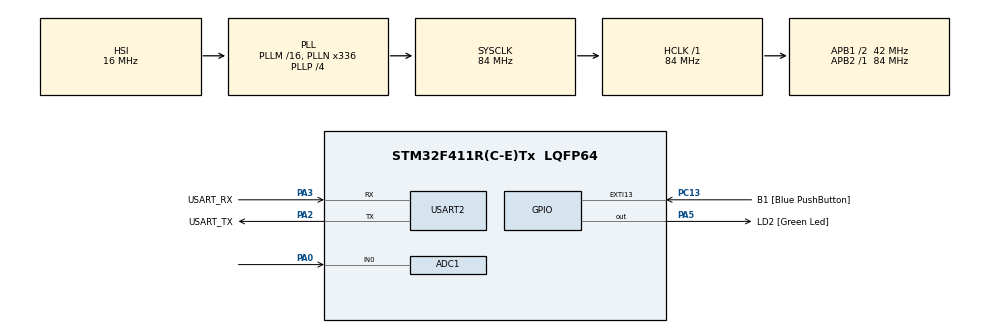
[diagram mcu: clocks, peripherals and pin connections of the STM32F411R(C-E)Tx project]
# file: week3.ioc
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ADC1.Channel-0\#ChannelRegularConversion=ADC_CHANNEL_0
ADC1.NbrOfConversionFlag=1
ADC1.Rank-0\#ChannelRegularConversion=1
ADC1.SamplingTime-0\#ChannelRegularConversion=ADC_SAMPLETIME_3CYCLES
ADC1.master=1
Mcu.Family=STM32F4
Mcu.Name=STM32F411R(C-E)Tx
Mcu.Package=LQFP64
NVIC.PriorityGroup=NVIC_PRIORITYGROUP_0
PA0-WKUP.Signal=ADCx_IN0
PA13.GPIO_Label=TMS
PA13.Mode=Serial_Wire
PA13.Signal=SYS_JTMS-SWDIO
PA14.GPIO_Label=TCK
PA14.Mode=Serial_Wire
PA14.Signal=SYS_JTCK-SWCLK
PA2.GPIO_Label=USART_TX
PA2.Mode=Asynchronous
PA2.Signal=USART2_TX
PA3.GPIO_Label=USART_RX
PA3.Mode=Asynchronous
PA3.Signal=USART2_RX
PA5.GPIO_Label=LD2 [Green Led]
PA5.Signal=GPIO_Output
PB3.GPIO_Label=SWO
PB3.Signal=SYS_JTDO-SWO
PC13-ANTI_TAMP.GPIO_Label=B1 [Blue PushButton]
PC13-ANTI_TAMP.GPIO_ModeDefaultEXTI=GPIO_MODE_IT_FALLING
PC13-ANTI_TAMP.Signal=GPXTI13
PC14-OSC32_IN.Mode=LSE-External-Oscillator
PC14-OSC32_IN.Signal=RCC_OSC32_IN
PC15-OSC32_OUT.Mode=LSE-External-Oscillator
PC15-OSC32_OUT.Signal=RCC_OSC32_OUT
PH0\ -\ OSC_IN.Mode=HSE-External-Clock-Source
PH0\ -\ OSC_IN.Signal=RCC_OSC_IN
PH1\ -\ OSC_OUT.Mode=HSE-External-Clock-Source
PH1\ -\ OSC_OUT.Signal=RCC_OSC_OUT
ProjectManager.HeapSize=0x200
ProjectManager.StackSize=0x400
ProjectManager.TargetToolchain=STM32CubeIDE
RCC.48MHZClocksFreq_Value=84000000
RCC.AHBFreq_Value=84000000
RCC.APB1CLKDivider=RCC_HCLK_DIV2
RCC.APB1Freq_Value=42000000
RCC.APB1TimFreq_Value=84000000
RCC.APB2Freq_Value=84000000
RCC.APB2TimFreq_Value=84000000
RCC.CortexFreq_Value=84000000
RCC.FLatency-AdvancedSettings=FLASH_LATENCY_2
RCC.HCLKFreq_Value=84000000
RCC.HSE_VALUE=8000000
RCC.HSI_VALUE=16000000
RCC.PLLN=336
RCC.PLLP=RCC_PLLP_DIV4
RCC.SYSCLKFreq_VALUE=84000000
RCC.SYSCLKSource=RCC_SYSCLKSOURCE_PLLCLK
RCC.VCOOutputFreq_Value=336000000
SH.ADCx_IN0.0=ADC1_IN0,IN0
USART2.VirtualMode=VM_ASYNC
VP_ADC1_TempSens_Input.Mode=IN-TempSens
board=NUCLEO-F411RE

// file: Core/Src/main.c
/* USER CODE BEGIN Header */
/**
 ******************************************************************************
 * @file           : main.c
 * @brief          : Main program body
 ******************************************************************************
 * @attention
 *
 * <h2><center>&copy; Copyright (c) 2021 STMicroelectronics.
 * All rights reserved.</center></h2>
 *
 * This software component is licensed by ST under BSD 3-Clause license,
 * the "License"; You may not use this file except in compliance with the
 * License. You may obtain a copy of the License at:
 *                        opensource.org/licenses/BSD-3-Clause
 *
 ******************************************************************************
 */
/* USER CODE END Header */
#include "main.h"

ADC_HandleTypeDef hadc1;

UART_HandleTypeDef huart2;

/* USER CODE BEGIN PV */
uint16_t adcdata[2] = { 0 };

typedef struct {
	ADC_ChannelConfTypeDef Config;
	uint16_t data;
} ADCStructure;

ADCStructure ADCChannel[3] = { 0 };
int ADCMode = 0;
float ADCOutputConverted = 0;
GPIO_PinState SwitchState[2];
/* USER CODE END PV */

void SystemClock_Config(void);
static void MX_GPIO_Init(void);
static void MX_USART2_UART_Init(void);
static void MX_ADC1_Init(void);
/* USER CODE BEGIN PFP */
void ADCPollingMethodInit();
void ADCPollingMethodUpdate();
/* USER CODE END PFP */

int main(void) {

	/* MCU Configuration--------------------------------------------------------*/

	/* Reset of all peripherals, Initializes the Flash interface and the Systick. */
	HAL_Init();

	/* Configure the system clock */
	SystemClock_Config();

	/* Initialize all configured peripherals */
	MX_GPIO_Init();
	MX_USART2_UART_Init();
	MX_ADC1_Init();
	/* USER CODE BEGIN 2 */
	ADCPollingMethodInit();

	/* USER CODE END 2 */

	/* Infinite loop */
	while (1) {

		/* USER CODE BEGIN 3 */

		ADCPollingMethodUpdate();
		SwitchState[0] = HAL_GPIO_ReadPin(GPIOC, GPIO_PIN_13);
		//Press = Low , No = High
		if (SwitchState[0] == GPIO_PIN_SET && SwitchState[1] == GPIO_PIN_RESET)
		// set = high , reset = low
				{
			if (ADCMode == 0) {
				ADCMode = 1;
			} else {
				ADCMode = 0;
			}
		}
		SwitchState[1] = SwitchState[0];
		if (ADCMode == 0) {
			ADCOutputConverted = (3.3/4096.0)*ADCChannel[0].data*1000.0;
		} else {
			ADCOutputConverted = ((3.3/4096.0)*ADCChannel[2].data -0.76)/(2.5/1000.0)+25.0;
		}

	}
	/* USER CODE END 3 */
}

void SystemClock_Config(void) {
	RCC_OscInitTypeDef RCC_OscInitStruct = { 0 };
	RCC_ClkInitTypeDef RCC_ClkInitStruct = { 0 };

	/** Configure the main internal regulator output voltage
	 */
	__HAL_RCC_PWR_CLK_ENABLE();
	__HAL_PWR_VOLTAGESCALING_CONFIG(PWR_REGULATOR_VOLTAGE_SCALE1);
	/** Initializes the RCC Oscillators according to the specified parameters
	 * in the RCC_OscInitTypeDef structure.
	 */
	RCC_OscInitStruct.OscillatorType = RCC_OSCILLATORTYPE_HSI;
	RCC_OscInitStruct.HSIState = RCC_HSI_ON;
	RCC_OscInitStruct.HSICalibrationValue = RCC_HSICALIBRATION_DEFAULT;
	RCC_OscInitStruct.PLL.PLLState = RCC_PLL_ON;
	RCC_OscInitStruct.PLL.PLLSource = RCC_PLLSOURCE_HSI;
	RCC_OscInitStruct.PLL.PLLM = 16;
	RCC_OscInitStruct.PLL.PLLN = 336;
	RCC_OscInitStruct.PLL.PLLP = RCC_PLLP_DIV4;
	RCC_OscInitStruct.PLL.PLLQ = 4;
	if (HAL_RCC_OscConfig(&RCC_OscInitStruct) != HAL_OK) {
		Error_Handler();
	}
	/** Initializes the CPU, AHB and APB buses clocks
	 */
	RCC_ClkInitStruct.ClockType = RCC_CLOCKTYPE_HCLK | RCC_CLOCKTYPE_SYSCLK
			| RCC_CLOCKTYPE_PCLK1 | RCC_CLOCKTYPE_PCLK2;
	RCC_ClkInitStruct.SYSCLKSource = RCC_SYSCLKSOURCE_PLLCLK;
	RCC_ClkInitStruct.AHBCLKDivider = RCC_SYSCLK_DIV1;
	RCC_ClkInitStruct.APB1CLKDivider = RCC_HCLK_DIV2;
	RCC_ClkInitStruct.APB2CLKDivider = RCC_HCLK_DIV1;

	if (HAL_RCC_ClockConfig(&RCC_ClkInitStruct, FLASH_LATENCY_2) != HAL_OK) {
		Error_Handler();
	}
}

static void MX_ADC1_Init(void) {

	ADC_ChannelConfTypeDef sConfig = { 0 };

	/** Configure the global features of the ADC (Clock, Resolution, Data Alignment and number of conversion)
	 */
	hadc1.Instance = ADC1;
	hadc1.Init.ClockPrescaler = ADC_CLOCK_SYNC_PCLK_DIV4;
	hadc1.Init.Resolution = ADC_RESOLUTION_12B;
	hadc1.Init.ScanConvMode = DISABLE;
	hadc1.Init.ContinuousConvMode = DISABLE;
	hadc1.Init.DiscontinuousConvMode = DISABLE;
	hadc1.Init.ExternalTrigConvEdge = ADC_EXTERNALTRIGCONVEDGE_NONE;
	hadc1.Init.ExternalTrigConv = ADC_SOFTWARE_START;
	hadc1.Init.DataAlign = ADC_DATAALIGN_RIGHT;
	hadc1.Init.NbrOfConversion = 1;
	hadc1.Init.DMAContinuousRequests = DISABLE;
	hadc1.Init.EOCSelection = ADC_EOC_SINGLE_CONV;
	if (HAL_ADC_Init(&hadc1) != HAL_OK) {
		Error_Handler();
	}
	/** Configure for the selected ADC regular channel its corresponding rank in the sequencer and its sample time.
	 */
	sConfig.Channel = ADC_CHANNEL_0;
	sConfig.Rank = 1;
	sConfig.SamplingTime = ADC_SAMPLETIME_3CYCLES;
	if (HAL_ADC_ConfigChannel(&hadc1, &sConfig) != HAL_OK) {
		Error_Handler();
	}

}

static void MX_USART2_UART_Init(void) {

	huart2.Instance = USART2;
	huart2.Init.BaudRate = 115200;
	huart2.Init.WordLength = UART_WORDLENGTH_8B;
	huart2.Init.StopBits = UART_STOPBITS_1;
	huart2.Init.Parity = UART_PARITY_NONE;
	huart2.Init.Mode = UART_MODE_TX_RX;
	huart2.Init.HwFlowCtl = UART_HWCONTROL_NONE;
	huart2.Init.OverSampling = UART_OVERSAMPLING_16;
	if (HAL_UART_Init(&huart2) != HAL_OK) {
		Error_Handler();
	}

}

static void MX_GPIO_Init(void) {
	GPIO_InitTypeDef GPIO_InitStruct = { 0 };

	/* GPIO Ports Clock Enable */
	__HAL_RCC_GPIOC_CLK_ENABLE();
	__HAL_RCC_GPIOH_CLK_ENABLE();
	__HAL_RCC_GPIOA_CLK_ENABLE();
	__HAL_RCC_GPIOB_CLK_ENABLE();

	/*Configure GPIO pin Output Level */
	HAL_GPIO_WritePin(LD2_GPIO_Port, LD2_Pin, GPIO_PIN_RESET);

	/*Configure GPIO pin : B1_Pin */
	GPIO_InitStruct.Pin = B1_Pin;
	GPIO_InitStruct.Mode = GPIO_MODE_IT_FALLING;
	GPIO_InitStruct.Pull = GPIO_NOPULL;
	HAL_GPIO_Init(B1_GPIO_Port, &GPIO_InitStruct);

	/*Configure GPIO pin : LD2_Pin */
	GPIO_InitStruct.Pin = LD2_Pin;
	GPIO_InitStruct.Mode = GPIO_MODE_OUTPUT_PP;
	GPIO_InitStruct.Pull = GPIO_NOPULL;
	GPIO_InitStruct.Speed = GPIO_SPEED_FREQ_LOW;
	HAL_GPIO_Init(LD2_GPIO_Port, &GPIO_InitStruct);

}

/* USER CODE BEGIN 4 */
void ADCPollingMethodInit() {
	//config all ADC Channel
	ADCChannel[0].Config.Channel = ADC_CHANNEL_0;
	ADCChannel[0].Config.Rank = 1;
	ADCChannel[0].Config.SamplingTime = ADC_SAMPLETIME_3CYCLES;

	ADCChannel[1].Config.Channel = ADC_CHANNEL_1;
	ADCChannel[1].Config.Rank = 1;
	ADCChannel[1].Config.SamplingTime = ADC_SAMPLETIME_3CYCLES;

	ADCChannel[2].Config.Channel = ADC_CHANNEL_TEMPSENSOR;
	ADCChannel[2].Config.Rank = 1;
	ADCChannel[2].Config.SamplingTime = ADC_SAMPLETIME_3CYCLES;
}
//Polling Method
void ADCPollingMethodUpdate() {
	//Read all 3 Channel
	for (int i = 0; i < 3; i++) {
		HAL_ADC_ConfigChannel(&hadc1, &ADCChannel[i].Config);
		HAL_ADC_Start(&hadc1);
		HAL_ADC_PollForConversion(&hadc1, 10);
		ADCChannel[i].data = HAL_ADC_GetValue(&hadc1);
		HAL_ADC_Stop(&hadc1);
	}
}
/* USER CODE END 4 */

void Error_Handler(void) {
	__disable_irq();
	while (1) {
	}
}

/************************ (C) COPYRIGHT STMicroelectronics *****END OF FILE****/
